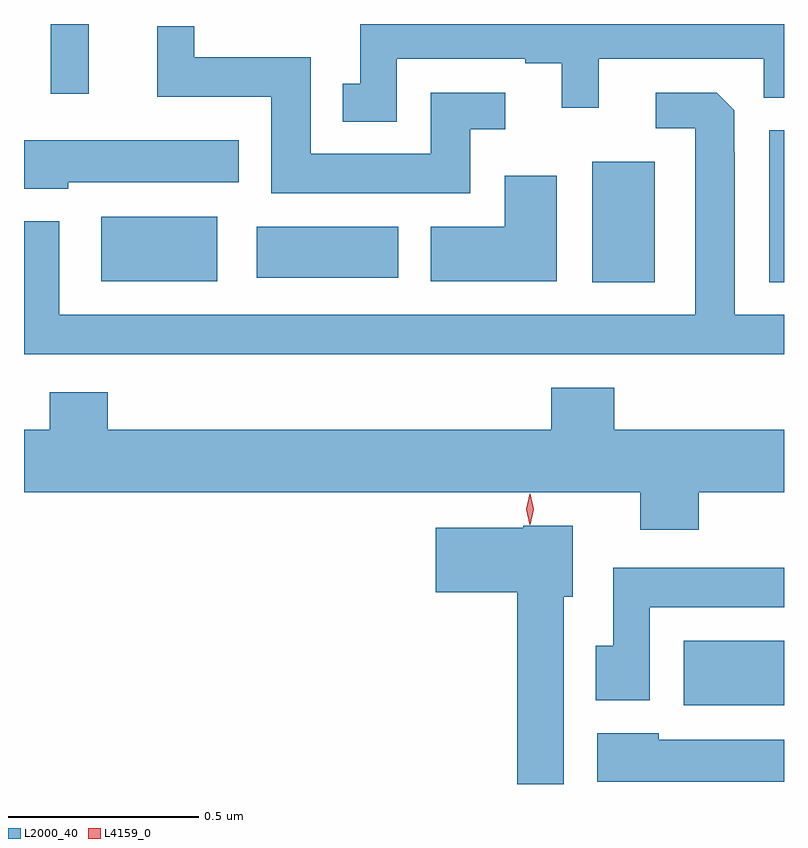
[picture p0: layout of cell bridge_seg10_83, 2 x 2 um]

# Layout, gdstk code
import gdstk
lib = gdstk.Library(unit=1e-6, precision=1e-09)
def R(c, l, rs):  # rectangles x0, y0, x1, y1
    for r in rs: c.add(gdstk.rectangle(r[:2], r[2:], *l))
def P(c, l, *ps):  # polygons
    for p in ps: c.add(gdstk.Polygon(p, *l))
L2000_40 = (2000, 40)
L4159_0 = (4159, 0)

bridge_seg10_83 = lib.new_cell('bridge_seg10_83')
R(bridge_seg10_83, L2000_40, [(662.399,1253.135,662.663,1253.305), (662.159,1254.248,662.323,1254.565), (662.624,1254.248,662.663,1254.649), (660.866,1254.251,661.171,1254.421), (661.275,1254.26,661.648,1254.394), (660.734,1254.744,660.833,1254.928)])
P(bridge_seg10_83, L2000_40, [(661.644,1254.837),(661.982,1254.837),(661.982,1254.825),(662.078,1254.825),(662.078,1254.708),(662.176,1254.708),(662.176,1254.837),(662.61,1254.837),(662.61,1254.734),(662.663,1254.734),(662.663,1254.928),(661.548,1254.928),(661.548,1254.771),(661.502,1254.771),(661.502,1254.671),(661.644,1254.671)],
  [(661.837,1254.651),(661.93,1254.651),(661.93,1254.747),(661.733,1254.747),(661.733,1254.586),(661.417,1254.586),(661.417,1254.841),(661.111,1254.841),(661.111,1254.922),(661.013,1254.922),(661.013,1254.737),(661.313,1254.737),(661.313,1254.482),(661.837,1254.482)],
  [(662.663,1254.163),(662.533,1254.163),(662.533,1254.59),(662.532,1254.59),(662.532,1254.701),(662.486,1254.747),(662.325,1254.747),(662.325,1254.654),(662.429,1254.654),(662.429,1254.163),(660.756,1254.163),(660.756,1254.409),(660.663,1254.409),(660.663,1254.059),(662.663,1254.059)],
  [(660.78,1254.512),(661.228,1254.512),(661.228,1254.622),(660.663,1254.622),(660.663,1254.494),(660.78,1254.494)],
  [(662.065,1254.529),(661.928,1254.529),(661.928,1254.394),(661.733,1254.394),(661.733,1254.251),(662.065,1254.251)],
  [(662.438,1253.696),(662.663,1253.696),(662.663,1253.86),(662.216,1253.86),(662.216,1253.971),(662.051,1253.971),(662.051,1253.86),(660.884,1253.86),(660.884,1253.959),(660.731,1253.959),(660.731,1253.86),(660.663,1253.86),(660.663,1253.696),(662.285,1253.696),(662.285,1253.597),(662.438,1253.597)],
  [(662.083,1253.421),(662.107,1253.421),(662.107,1253.608),(661.977,1253.608),(661.977,1253.602),(661.746,1253.602),(661.746,1253.432),(661.961,1253.432),(661.961,1252.928),(662.083,1252.928)],
  [(662.31,1253.393),(662.663,1253.393),(662.663,1253.497),(662.213,1253.497),(662.213,1253.292),(662.168,1253.292),(662.168,1253.148),(662.31,1253.148)],
  [(662.663,1253.044),(662.334,1253.044),(662.334,1253.062),(662.172,1253.062),(662.172,1252.934),(662.663,1252.934)])
P(bridge_seg10_83, L4159_0, [(661.994,1253.61),(661.985,1253.651),(661.994,1253.692),(661.995,1253.692),(661.995,1253.692),(662.005,1253.651),(661.995,1253.61),(661.995,1253.61)])

lib.write_gds('bridge_seg10_83.gds')
